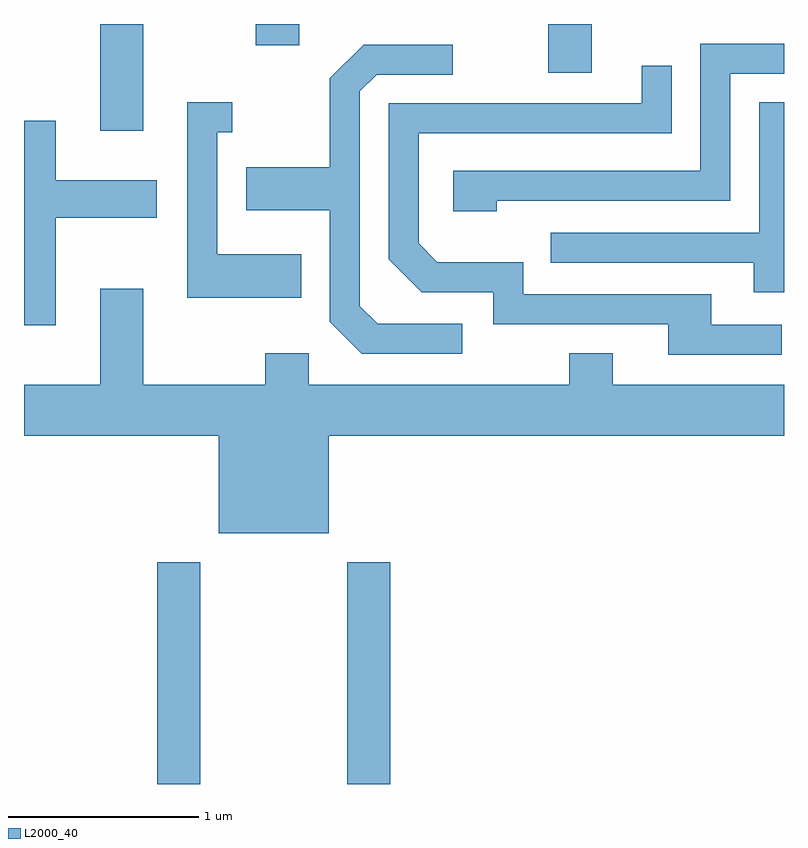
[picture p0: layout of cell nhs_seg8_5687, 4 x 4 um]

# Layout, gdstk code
import gdstk
lib = gdstk.Library(unit=1e-6, precision=1e-09)
def R(c, l, rs):  # rectangles x0, y0, x1, y1
    for r in rs: c.add(gdstk.rectangle(r[:2], r[2:], *l))
def P(c, l, *ps):  # polygons
    for p in ps: c.add(gdstk.Polygon(p, *l))
L2000_40 = (2000, 40)

nhs_seg8_5687 = lib.new_cell('nhs_seg8_5687')
R(nhs_seg8_5687, L2000_40, [(356.311,1852.342,356.539,1853.509), (357.311,1852.342,357.539,1853.509), (356.011,1855.781,356.239,1856.342), (358.371,1856.086,358.599,1856.342), (356.831,1856.231,357.059,1856.342)])
P(nhs_seg8_5687, L2000_40, [(358.099,1855.411),(359.329,1855.411),(359.329,1856.081),(359.611,1856.081),(359.611,1856.239),(359.171,1856.239),(359.171,1855.569),(357.871,1855.569),(357.871,1855.356),(358.099,1855.356)],
  [(357.918,1854.764),(357.472,1854.764),(357.379,1854.857),(357.379,1855.989),(357.467,1856.076),(357.868,1856.076),(357.868,1856.234),(357.399,1856.234),(357.221,1856.057),(357.221,1855.589),(356.781,1855.589),(356.781,1855.361),(357.221,1855.361),(357.221,1854.774),(357.389,1854.606),(357.918,1854.606)],
  [(359.598,1854.759),(359.229,1854.759),(359.229,1854.919),(358.239,1854.919),(358.239,1855.089),(357.787,1855.089),(357.689,1855.187),(357.689,1855.766),(359.019,1855.766),(359.019,1856.123),(358.861,1856.123),(358.861,1855.924),(357.531,1855.924),(357.531,1855.104),(357.704,1854.931),(358.081,1854.931),(358.081,1854.761),(359.001,1854.761),(359.001,1854.601),(359.598,1854.601)],
  [(359.611,1855.929),(359.481,1855.929),(359.481,1855.244),(358.383,1855.244),(358.383,1855.086),(359.451,1855.086),(359.451,1854.931),(359.611,1854.931)],
  [(357.069,1855.129),(356.629,1855.129),(356.629,1855.771),(356.708,1855.771),(356.708,1855.929),(356.471,1855.929),(356.471,1854.901),(357.069,1854.901)],
  [(355.779,1855.321),(356.309,1855.321),(356.309,1855.519),(355.779,1855.519),(355.779,1855.834),(355.611,1855.834),(355.611,1854.756),(355.779,1854.756)],
  [(357.214,1854.176),(359.611,1854.176),(359.611,1854.444),(358.709,1854.444),(358.709,1854.609),(358.481,1854.609),(358.481,1854.444),(357.109,1854.444),(357.109,1854.609),(356.881,1854.609),(356.881,1854.444),(356.239,1854.444),(356.239,1854.949),(356.011,1854.949),(356.011,1854.444),(355.611,1854.444),(355.611,1854.176),(356.636,1854.176),(356.636,1853.661),(357.214,1853.661)])

lib.write_gds('nhs_seg8_5687.gds')
